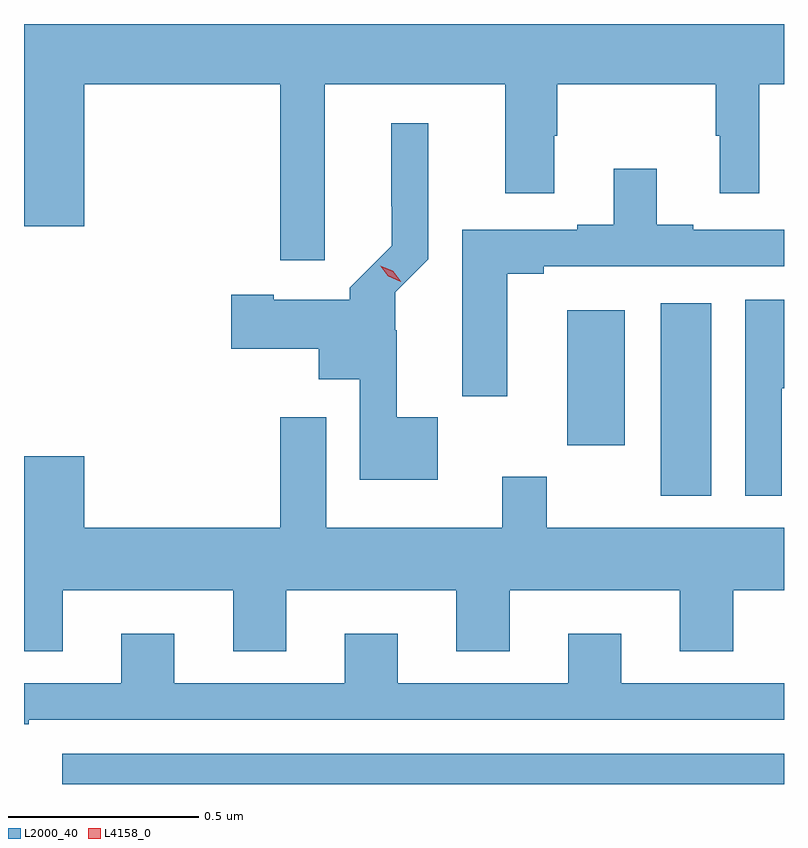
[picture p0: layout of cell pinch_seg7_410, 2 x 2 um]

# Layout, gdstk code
import gdstk
lib = gdstk.Library(unit=1e-6, precision=1e-09)
def R(c, l, rs):  # rectangles x0, y0, x1, y1
    for r in rs: c.add(gdstk.rectangle(r[:2], r[2:], *l))
def P(c, l, *ps):  # polygons
    for p in ps: c.add(gdstk.Polygon(p, *l))
L2000_40 = (2000, 40)
L4158_0 = (4158, 0)

pinch_seg7_410 = lib.new_cell('pinch_seg7_410')
R(pinch_seg7_410, L2000_40, [(560.718,1032.074,562.617,1032.154), (562.292,1032.833,562.426,1033.339), (562.046,1032.966,562.198,1033.321)])
P(pinch_seg7_410, L2000_40, [(561.409,1033.916),(561.884,1033.916),(561.884,1033.629),(562.012,1033.629),(562.012,1033.78),(562.02,1033.78),(562.02,1033.916),(562.438,1033.916),(562.438,1033.78),(562.448,1033.78),(562.448,1033.629),(562.552,1033.629),(562.552,1033.916),(562.617,1033.916),(562.617,1034.074),(560.617,1034.074),(560.617,1033.542),(560.776,1033.542),(560.776,1033.916),(561.291,1033.916),(561.291,1033.452),(561.409,1033.452)],
  [(561.706,1033.039),(561.598,1033.039),(561.598,1033.268),(561.594,1033.268),(561.594,1033.368),(561.681,1033.455),(561.681,1033.813),(561.584,1033.813),(561.584,1033.594),(561.585,1033.594),(561.585,1033.491),(561.474,1033.38),(561.474,1033.348),(561.274,1033.348),(561.274,1033.361),(561.162,1033.361),(561.162,1033.219),(561.392,1033.219),(561.392,1033.139),(561.501,1033.139),(561.501,1032.875),(561.706,1032.875)],
  [(561.889,1033.417),(561.985,1033.417),(561.985,1033.437),(562.617,1033.437),(562.617,1033.533),(562.378,1033.533),(562.378,1033.546),(562.282,1033.546),(562.282,1033.693),(562.169,1033.693),(562.169,1033.546),(562.073,1033.546),(562.073,1033.533),(561.77,1033.533),(561.77,1033.095),(561.889,1033.095)],
  [(562.611,1033.115),(562.617,1033.115),(562.617,1033.348),(562.515,1033.348),(562.515,1032.833),(562.611,1032.833)],
  [(560.719,1032.584),(561.167,1032.584),(561.167,1032.424),(561.307,1032.424),(561.307,1032.584),(561.755,1032.584),(561.755,1032.424),(561.895,1032.424),(561.895,1032.584),(562.343,1032.584),(562.343,1032.424),(562.483,1032.424),(562.483,1032.584),(562.617,1032.584),(562.617,1032.748),(561.993,1032.748),(561.993,1032.882),(561.875,1032.882),(561.875,1032.748),(561.412,1032.748),(561.412,1033.039),(561.291,1033.039),(561.291,1032.748),(560.776,1032.748),(560.776,1032.937),(560.617,1032.937),(560.617,1032.424),(560.719,1032.424)],
  [(560.63,1032.243),(562.617,1032.243),(562.617,1032.339),(562.189,1032.339),(562.189,1032.469),(562.049,1032.469),(562.049,1032.339),(561.601,1032.339),(561.601,1032.469),(561.461,1032.469),(561.461,1032.339),(561.013,1032.339),(561.013,1032.469),(560.873,1032.469),(560.873,1032.339),(560.617,1032.339),(560.617,1032.231),(560.63,1032.231)])
P(pinch_seg7_410, L4158_0, [(561.608,1033.396),(561.575,1033.41),(561.554,1033.438),(561.554,1033.438),(561.555,1033.438),(561.587,1033.425),(561.608,1033.397),(561.608,1033.396)])

lib.write_gds('pinch_seg7_410.gds')
